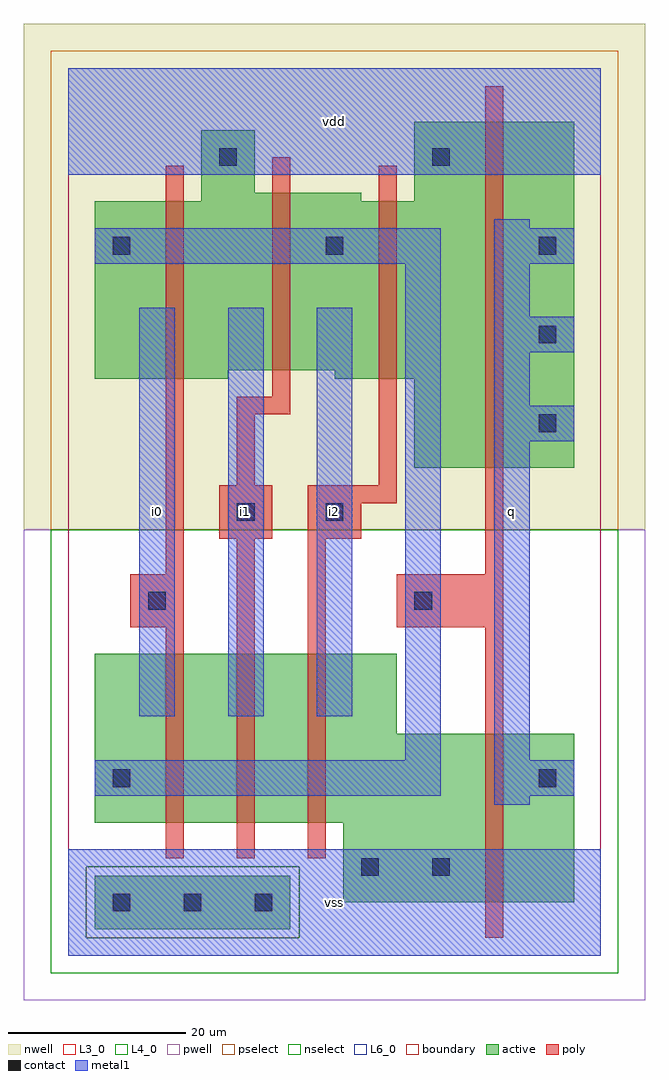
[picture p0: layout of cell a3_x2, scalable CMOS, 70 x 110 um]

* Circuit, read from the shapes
.subckt a3_x2 i0 i1 i2 q vdd vss
M1 n1 i0 n2 vss nfet w=19u l=2u
M2 n3 i1 n1 vss nfet w=19u l=2u
M3 vss i2 n3 vss nfet w=19u l=2u
M4 q n2 vss vss nfet w=19u l=2u
M5 vdd i0 n2 n4 pfet w=20u l=2u
M6 n2 i1 vdd n4 pfet w=20u l=2u
M7 vdd i2 n2 n4 pfet w=20u l=2u
M8 q n2 vdd n4 pfet w=39u l=2u
.ends

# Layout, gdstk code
import gdstk
lib = gdstk.Library(unit=1e-6, precision=1e-09)
def R(c, l, rs):  # rectangles x0, y0, x1, y1
    for r in rs: c.add(gdstk.rectangle(r[:2], r[2:], *l))
def A(c, l, x, y, w, h, nx, ny, dx, dy):  # array of equal rectangles
    R(c, l, [(x+i*dx, y+j*dy, x+i*dx+w, y+j*dy+h) for i in range(nx) for j in range(ny)])
L3_0 = (3, 0)
L4_0 = (4, 0)
L6_0 = (6, 0)
contact = (25, 0)
pwell = (41, 0)
nwell = (42, 0)
active = (43, 0)
pselect = (44, 0)
nselect = (45, 0)
poly = (46, 0)
metal1 = (49, 0)
boundary = (63, 0)

a3_x2 = lib.new_cell('a3_x2')
R(a3_x2, L3_0, [(31,6,57,15), (3,15,57,25), (3,25,37,34)])
R(a3_x2, L4_0, [(39,55,57,65), (3,65,18,66), (30,65,57,66), (3,66,57,85), (15,85,33,86), (39,85,57,94), (15,86,21,93)])
R(a3_x2, L6_0, [(3,3,25,9)])
A(a3_x2, contact, 5, 5, 2, 2, 3, 1, 8, 0)
A(a3_x2, contact, 5, 79, 2, 2, 3, 1, 24, 0)
R(a3_x2, contact, [(33,9,35,11), (41,9,43,11), (5,19,7,21), (53,19,55,21), (9,39,11,41), (39,39,41,41), (19,49,21,51), (29,49,31,51), (53,59,55,61), (53,69,55,71), (17,89,19,91), (41,89,43,91)])
R(a3_x2, pwell, [(-5,-5,65,48)])
R(a3_x2, nwell, [(-5,48,65,105)])
R(a3_x2, active, [(3,3,25,9), (31,6,57,15), (3,15,57,25), (3,25,37,34), (39,55,57,65), (3,65,18,66), (30,65,57,66), (3,66,57,85), (15,85,33,86), (39,85,57,94), (15,86,21,93)])
R(a3_x2, pselect, [(2,2,26,10), (-2,48,62,102)])
R(a3_x2, nselect, [(-2,-2,62,2), (-2,2,2,10), (26,2,62,10), (-2,10,62,48)])
R(a3_x2, poly, [(47,2,49,37), (11,11,13,37), (19,11,21,47), (27,11,29,47), (7,37,13,43), (37,37,49,43), (11,43,13,89), (47,43,49,98), (17,47,23,53), (27,47,33,51), (27,51,37,53), (19,53,21,61), (35,53,37,89), (19,61,25,63), (23,63,25,90)])
A(a3_x2, metal1, 8, 27, 4, 46, 3, 1, 10, 0)
A(a3_x2, metal1, 48, 58, 9, 4, 1, 3, 0, 10)
R(a3_x2, metal1, [(0,0,60,12), (48,17,52,18), (3,18,42,22), (48,18,57,22), (38,22,42,78), (48,22,52,58), (48,62,52,68), (48,72,52,78), (3,78,42,82), (48,82,52,83), (0,88,60,100)])
R(a3_x2, boundary, [(0,0,60,100)])
a3_x2.add(gdstk.Label('i0', (10,50), layer=49, texttype=0))
a3_x2.add(gdstk.Label('i1', (20,50), layer=49, texttype=0))
a3_x2.add(gdstk.Label('vss', (30,6), layer=49, texttype=0))
a3_x2.add(gdstk.Label('i2', (30,50), layer=49, texttype=0))
a3_x2.add(gdstk.Label('vdd', (30,94), layer=49, texttype=0))
a3_x2.add(gdstk.Label('q', (50,50), layer=49, texttype=0))

lib.write_gds('a3_x2.gds')
